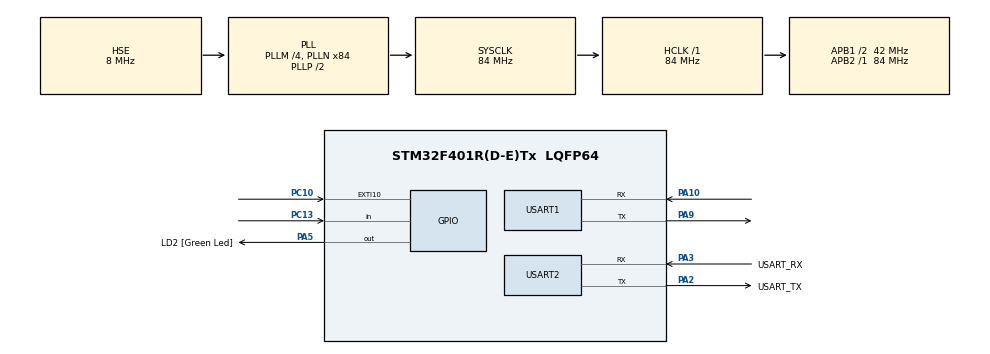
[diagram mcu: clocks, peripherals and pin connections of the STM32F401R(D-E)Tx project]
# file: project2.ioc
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Mcu.Family=STM32F4
Mcu.Name=STM32F401R(D-E)Tx
Mcu.Package=LQFP64
NVIC.EXTI15_10_IRQn=true\:15\:0\:true\:false\:true\:true\:true
NVIC.PriorityGroup=NVIC_PRIORITYGROUP_4
NVIC.USART2_IRQn=true\:15\:0\:true\:false\:true\:true\:true
PA10.GPIO_PuPd=GPIO_PULLUP
PA10.Mode=Asynchronous
PA10.Signal=USART1_RX
PA13.GPIO_Label=TMS
PA13.Mode=Serial_Wire
PA13.Signal=SYS_JTMS-SWDIO
PA14.GPIO_Label=TCK
PA14.Mode=Serial_Wire
PA14.Signal=SYS_JTCK-SWCLK
PA2.GPIO_Label=USART_TX
PA2.GPIO_Mode=GPIO_MODE_AF_PP
PA2.GPIO_PuPd=GPIO_NOPULL
PA2.GPIO_Speed=GPIO_SPEED_FREQ_LOW
PA2.Mode=Asynchronous
PA2.Signal=USART2_TX
PA3.GPIO_Label=USART_RX
PA3.GPIO_Mode=GPIO_MODE_AF_PP
PA3.GPIO_PuPd=GPIO_NOPULL
PA3.GPIO_Speed=GPIO_SPEED_FREQ_LOW
PA3.Mode=Asynchronous
PA3.Signal=USART2_RX
PA5.GPIO_Label=LD2 [Green Led]
PA5.GPIO_Mode=GPIO_MODE_OUTPUT_PP
PA5.GPIO_PuPd=GPIO_NOPULL
PA5.GPIO_Speed=GPIO_SPEED_FREQ_LOW
PA5.Signal=GPIO_Output
PA9.GPIO_PuPd=GPIO_PULLUP
PA9.Mode=Asynchronous
PA9.Signal=USART1_TX
PB3.GPIO_Label=SWO
PB3.Signal=SYS_JTDO-SWO
PC10.GPIO_ModeDefaultEXTI=GPIO_MODE_IT_FALLING
PC10.GPIO_PuPd=GPIO_PULLUP
PC10.Signal=GPXTI10
PC13-ANTI_TAMP.Signal=GPIO_Input
PC14-OSC32_IN.Mode=LSE-External-Oscillator
PC14-OSC32_IN.Signal=RCC_OSC32_IN
PC15-OSC32_OUT.Mode=LSE-External-Oscillator
PC15-OSC32_OUT.Signal=RCC_OSC32_OUT
PH0\ -\ OSC_IN.Mode=HSE-External-Clock-Source
PH0\ -\ OSC_IN.Signal=RCC_OSC_IN
PH1\ -\ OSC_OUT.Mode=HSE-External-Clock-Source
PH1\ -\ OSC_OUT.Signal=RCC_OSC_OUT
ProjectManager.HeapSize=0x200
ProjectManager.StackSize=0x400
ProjectManager.TargetToolchain=STM32CubeIDE
RCC.48MHZClocksFreq_Value=24000000
RCC.AHBFreq_Value=84000000
RCC.APB1CLKDivider=RCC_HCLK_DIV2
RCC.APB1Freq_Value=42000000
RCC.APB1TimFreq_Value=84000000
RCC.APB2Freq_Value=84000000
RCC.APB2TimFreq_Value=84000000
RCC.CortexFreq_Value=84000000
RCC.HCLKFreq_Value=84000000
RCC.HSE_VALUE=8000000
RCC.HSI_VALUE=16000000
RCC.PLLM=4
RCC.PLLN=84
RCC.PLLQ=7
RCC.PLLSourceVirtual=RCC_PLLSOURCE_HSE
RCC.SYSCLKFreq_VALUE=84000000
RCC.SYSCLKSource=RCC_SYSCLKSOURCE_PLLCLK
RCC.VCOOutputFreq_Value=168000000
USART1.VirtualMode=VM_ASYNC
USART2.VirtualMode=VM_ASYNC
VP_CRC_VS_CRC.Mode=CRC_Activate
board=NUCLEO-F401RE

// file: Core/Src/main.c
/* USER CODE BEGIN Header */
/**
  ******************************************************************************
  * @file           : main.c
  * @brief          : Main program body
  ******************************************************************************
  * @attention
  *
  * <h2><center>&copy; Copyright (c) 2021 STMicroelectronics.
  * All rights reserved.</center></h2>
  *
  * This software component is licensed by ST under BSD 3-Clause license,
  * the "License"; You may not use this file except in compliance with the
  * License. You may obtain a copy of the License at:
  *                        opensource.org/licenses/BSD-3-Clause
  *
  ******************************************************************************
  */
/* USER CODE END Header */
#include "main.h"

/* USER CODE BEGIN Includes */

#include "stdarg.h"
#include <stdlib.h>
#include <stdbool.h>
#include <stdio.h>
#include <string.h>
#include <signal.h>

#include "cs101_slave.h"

/* USER CODE END Includes */

CRC_HandleTypeDef hcrc;

UART_HandleTypeDef huart1;
UART_HandleTypeDef huart2;

/* USER CODE BEGIN PV */

//rtc

#define D_UART &huart2
#define C_UART &uart2
#define BL_DEBUG_MSG_EN
/* USER CODE END PV */

void SystemClock_Config(void);
static void MX_GPIO_Init(void);
static void MX_USART2_UART_Init(void);
static void MX_CRC_Init(void);
static void MX_USART1_UART_Init(void);

/* USER CODE BEGIN 0 */
char somedata[]="hello world \r";

/* Callback handler that is called when an interrogation command is received */
static bool
interrogationHandler(void* parameter, IMasterConnection connection, CS101_ASDU asdu, uint8_t qoi)
{
    printf("Received interrogation for group %i\n", qoi);

    if (qoi == 20) { /* only handle station interrogation */

        CS101_AppLayerParameters alParams = IMasterConnection_getApplicationLayerParameters(connection);

        IMasterConnection_sendACT_CON(connection, asdu, false);

        /* The CS101 specification only allows information objects without timestamp in GI responses */

        CS101_ASDU newAsdu = CS101_ASDU_create(alParams, false, CS101_COT_INTERROGATED_BY_STATION,
                0, 1, false, false);
//dòng này chỉ để tạo để lấy bộ nhớ thôi
        InformationObject io = (InformationObject) MeasuredValueScaled_create(NULL, 100, -1, IEC60870_QUALITY_GOOD);

        CS101_ASDU_addInformationObject(newAsdu, io);

        CS101_ASDU_addInformationObject(newAsdu, (InformationObject)
            MeasuredValueScaled_create((MeasuredValueScaled) io, 101, 23, IEC60870_QUALITY_GOOD));

        CS101_ASDU_addInformationObject(newAsdu, (InformationObject)
            MeasuredValueScaled_create((MeasuredValueScaled) io, 102, 2300, IEC60870_QUALITY_GOOD));

        InformationObject_destroy(io);

        IMasterConnection_sendASDU(connection, newAsdu);

        CS101_ASDU_destroy(newAsdu);

        newAsdu = CS101_ASDU_create(alParams, false, CS101_COT_INTERROGATED_BY_STATION,
                    0, 1, false, false);

        io = (InformationObject) SinglePointInformation_create(NULL, 104, true, IEC60870_QUALITY_GOOD);

        CS101_ASDU_addInformationObject(newAsdu, io);

        CS101_ASDU_addInformationObject(newAsdu, (InformationObject)
            SinglePointInformation_create((SinglePointInformation) io, 105, false, IEC60870_QUALITY_GOOD));

        InformationObject_destroy(io);

        IMasterConnection_sendASDU(connection, newAsdu);

        CS101_ASDU_destroy(newAsdu);

        newAsdu = CS101_ASDU_create(alParams, true, CS101_COT_INTERROGATED_BY_STATION,
                0, 1, false, false);

        CS101_ASDU_addInformationObject(newAsdu, io = (InformationObject) SinglePointInformation_create(NULL, 300, true, IEC60870_QUALITY_GOOD));
        CS101_ASDU_addInformationObject(newAsdu, (InformationObject) SinglePointInformation_create((SinglePointInformation) io, 301, false, IEC60870_QUALITY_GOOD));
        CS101_ASDU_addInformationObject(newAsdu, (InformationObject) SinglePointInformation_create((SinglePointInformation) io, 302, true, IEC60870_QUALITY_GOOD));
        CS101_ASDU_addInformationObject(newAsdu, (InformationObject) SinglePointInformation_create((SinglePointInformation) io, 303, false, IEC60870_QUALITY_GOOD));
        CS101_ASDU_addInformationObject(newAsdu, (InformationObject) SinglePointInformation_create((SinglePointInformation) io, 304, true, IEC60870_QUALITY_GOOD));
        CS101_ASDU_addInformationObject(newAsdu, (InformationObject) SinglePointInformation_create((SinglePointInformation) io, 305, false, IEC60870_QUALITY_GOOD));
        CS101_ASDU_addInformationObject(newAsdu, (InformationObject) SinglePointInformation_create((SinglePointInformation) io, 306, true, IEC60870_QUALITY_GOOD));
        CS101_ASDU_addInformationObject(newAsdu, (InformationObject) SinglePointInformation_create((SinglePointInformation) io, 307, false, IEC60870_QUALITY_GOOD));

        InformationObject_destroy(io);

        IMasterConnection_sendASDU(connection, newAsdu);

        CS101_ASDU_destroy(newAsdu);

        IMasterConnection_sendACT_TERM(connection, asdu);
    }
    else {
        IMasterConnection_sendACT_CON(connection, asdu, true);
    }

    return true;
}
static bool
asduHandler(void* parameter, IMasterConnection connection, CS101_ASDU asdu)
{
    if (CS101_ASDU_getTypeID(asdu) == C_SC_NA_1) {
        printf("received single command\n");

        if  (CS101_ASDU_getCOT(asdu) == CS101_COT_ACTIVATION) {
            InformationObject io = CS101_ASDU_getElement(asdu, 0);

            if (io) {
                if (InformationObject_getObjectAddress(io) == 5000) {
                    SingleCommand sc = (SingleCommand) io;

                    printf("IOA: %i switch to %i\n", InformationObject_getObjectAddress(io),
                            SingleCommand_getState(sc));

                    CS101_ASDU_setCOT(asdu, CS101_COT_ACTIVATION_CON);
                }
                else
                    CS101_ASDU_setCOT(asdu, CS101_COT_UNKNOWN_IOA);

                InformationObject_destroy(io);
            }
            else {
                printf("ERROR: ASDU contains no information object!\n");
                return true;
            }

        }
        else
            CS101_ASDU_setCOT(asdu, CS101_COT_UNKNOWN_COT);

        IMasterConnection_sendASDU(connection, asdu);

        return true;
    }

    return false;
}
/* USER CODE END 0 */

int main(void)
{

  /* MCU Configuration--------------------------------------------------------*/

  /* Reset of all peripherals, Initializes the Flash interface and the Systick. */
  HAL_Init();

  /* Configure the system clock */
  SystemClock_Config();

  /* USER CODE BEGIN SysInit */
//  __HAL_GPIO_EXTI_CLEAR_IT(GPIO_PIN_13);
//  RTC_Init();
//  RTC_CalendarConfig();
  /* USER CODE END SysInit */

  /* Initialize all configured peripherals */
  MX_GPIO_Init();
  MX_USART2_UART_Init();
  MX_CRC_Init();
  MX_USART1_UART_Init();
  /* USER CODE BEGIN 2 */
//
//
////  IMasterConnection connection;
////  CS101_AppLayerParameters alParams = IMasterConnection_getApplicationLayerParameters(connection);
//
////  const char* serialPort = "/dev/ttyUSB0";
////  SerialPort port = SerialPort_create(serialPort, 9600, 8, 'E', 1);
//  CS101_Slave slave = CS101_Slave_create(NULL, NULL, NULL, IEC60870_LINK_LAYER_UNBALANCED);
//
//  CS101_Slave_setLinkLayerAddress(slave, 1);
//  CS101_Slave_setLinkLayerAddressOtherStation(slave, 1);
//
//  /* get the application layer parameters - we need them to create correct ASDUs */
//  CS101_AppLayerParameters alParameters = CS101_Slave_getAppLayerParameters(slave);
//
//  /* change default application layer parameters (optional) */
//  alParameters->sizeOfCA = 2;
//  alParameters->sizeOfIOA = 3;
//  alParameters->sizeOfCOT = 2;
//  LinkLayerParameters llParameters = CS101_Slave_getLinkLayerParameters(slave);
//     llParameters->timeoutForAck = 500;
//     int16_t scaledValue = 0;
//
//     uint64_t lastMessageSent = 0;
////     CS101_Slave_run(slave);
//
//     CS101_ASDU newAsdu = CS101_ASDU_create(alParameters, false, CS101_COT_PERIODIC, 0, 1, false, false);
//
//       InformationObject io = (InformationObject) MeasuredValueScaled_create(NULL, 100, -1, IEC60870_QUALITY_GOOD);
//
//       //trong hàm này có hàm ghi giá trị
//       CS101_ASDU_addInformationObject(newAsdu, io);
//
//       CS101_ASDU_addInformationObject(newAsdu, (InformationObject)
//           MeasuredValueScaled_create((MeasuredValueScaled) io, 101, 21, IEC60870_QUALITY_GOOD));
//
//       CS101_ASDU_addInformationObject(newAsdu, (InformationObject)
//           MeasuredValueScaled_create((MeasuredValueScaled) io, 102, 900, IEC60870_QUALITY_OVERFLOW)); //2300
//
//     InformationObject_destroy(io);
//
//     CS101_Slave_enqueueUserDataClass2(slave, newAsdu);
//
//     CS101_ASDU_destroy(newAsdu);

  /////////////////////////////////////////////////////////////////////
  struct sCS101_AppLayerParameters huy;
  struct sCS101_AppLayerParameters *para =&huy;
//  CS101_AppLayerParameters para;
//  para = (CS101_AppLayerParameters)huy;
  para->sizeOfCA = 2;
  para->sizeOfIOA = 3;
  para->sizeOfCOT = 2;
  CS101_ASDU newAsdu = CS101_ASDU_create(para, false, CS101_COT_INTERROGATED_BY_STATION,
          0, 1, false, false);

//dòng này chỉ để tạo để lấy bộ nhớ thôi, trong hàm này tạo hàm nạp giá trị rồi
  InformationObject io = (InformationObject) MeasuredValueScaled_create(NULL, 100, -1, IEC60870_QUALITY_GOOD);

  //trong hàm này có hàm ghi giá trị
  CS101_ASDU_addInformationObject(newAsdu, io);

  CS101_ASDU_addInformationObject(newAsdu, (InformationObject)
      MeasuredValueScaled_create((MeasuredValueScaled) io, 101, 21, IEC60870_QUALITY_GOOD));

  CS101_ASDU_addInformationObject(newAsdu, (InformationObject)
      MeasuredValueScaled_create((MeasuredValueScaled) io, 102, 900, IEC60870_QUALITY_OVERFLOW)); //2300

  InformationObject_destroy(io);
//     CS101_Slave_enqueueUserDataClass2(slave, newAsdu);

  /* USER CODE END 2 */

  /* Infinite loop */
  while (1)
  {

  }
}

void SystemClock_Config(void)
{
  RCC_OscInitTypeDef RCC_OscInitStruct = {0};
  RCC_ClkInitTypeDef RCC_ClkInitStruct = {0};

  /** Configure the main internal regulator output voltage
  */
  __HAL_RCC_PWR_CLK_ENABLE();
  __HAL_PWR_VOLTAGESCALING_CONFIG(PWR_REGULATOR_VOLTAGE_SCALE2);
  /** Initializes the RCC Oscillators according to the specified parameters
  * in the RCC_OscInitTypeDef structure.
  */
  RCC_OscInitStruct.OscillatorType = RCC_OSCILLATORTYPE_HSE;
  RCC_OscInitStruct.HSEState = RCC_HSE_BYPASS;
  RCC_OscInitStruct.PLL.PLLState = RCC_PLL_ON;
  RCC_OscInitStruct.PLL.PLLSource = RCC_PLLSOURCE_HSE;
  RCC_OscInitStruct.PLL.PLLM = 4;
  RCC_OscInitStruct.PLL.PLLN = 84;
  RCC_OscInitStruct.PLL.PLLP = RCC_PLLP_DIV2;
  RCC_OscInitStruct.PLL.PLLQ = 7;
  if (HAL_RCC_OscConfig(&RCC_OscInitStruct) != HAL_OK)
  {
    Error_Handler();
  }
  /** Initializes the CPU, AHB and APB buses clocks
  */
  RCC_ClkInitStruct.ClockType = RCC_CLOCKTYPE_HCLK|RCC_CLOCKTYPE_SYSCLK
                              |RCC_CLOCKTYPE_PCLK1|RCC_CLOCKTYPE_PCLK2;
  RCC_ClkInitStruct.SYSCLKSource = RCC_SYSCLKSOURCE_PLLCLK;
  RCC_ClkInitStruct.AHBCLKDivider = RCC_SYSCLK_DIV1;
  RCC_ClkInitStruct.APB1CLKDivider = RCC_HCLK_DIV2;
  RCC_ClkInitStruct.APB2CLKDivider = RCC_HCLK_DIV1;

  if (HAL_RCC_ClockConfig(&RCC_ClkInitStruct, FLASH_LATENCY_2) != HAL_OK)
  {
    Error_Handler();
  }
}

static void MX_CRC_Init(void)
{

  hcrc.Instance = CRC;
  if (HAL_CRC_Init(&hcrc) != HAL_OK)
  {
    Error_Handler();
  }

}

static void MX_USART1_UART_Init(void)
{

  huart1.Instance = USART1;
  huart1.Init.BaudRate = 115200;
  huart1.Init.WordLength = UART_WORDLENGTH_8B;
  huart1.Init.StopBits = UART_STOPBITS_1;
  huart1.Init.Parity = UART_PARITY_NONE;
  huart1.Init.Mode = UART_MODE_TX_RX;
  huart1.Init.HwFlowCtl = UART_HWCONTROL_NONE;
  huart1.Init.OverSampling = UART_OVERSAMPLING_16;
  if (HAL_UART_Init(&huart1) != HAL_OK)
  {
    Error_Handler();
  }

}

static void MX_USART2_UART_Init(void)
{

  huart2.Instance = USART2;
  huart2.Init.BaudRate = 115200;
  huart2.Init.WordLength = UART_WORDLENGTH_8B;
  huart2.Init.StopBits = UART_STOPBITS_1;
  huart2.Init.Parity = UART_PARITY_NONE;
  huart2.Init.Mode = UART_MODE_TX_RX;
  huart2.Init.HwFlowCtl = UART_HWCONTROL_NONE;
  huart2.Init.OverSampling = UART_OVERSAMPLING_16;
  if (HAL_UART_Init(&huart2) != HAL_OK)
  {
    Error_Handler();
  }

}

static void MX_GPIO_Init(void)
{
  GPIO_InitTypeDef GPIO_InitStruct = {0};

  /* GPIO Ports Clock Enable */
  __HAL_RCC_GPIOC_CLK_ENABLE();
  __HAL_RCC_GPIOH_CLK_ENABLE();
  __HAL_RCC_GPIOA_CLK_ENABLE();
  __HAL_RCC_GPIOB_CLK_ENABLE();

  /*Configure GPIO pin Output Level */
  HAL_GPIO_WritePin(LD2_GPIO_Port, LD2_Pin, GPIO_PIN_RESET);

  /*Configure GPIO pin : PC13 */
  GPIO_InitStruct.Pin = GPIO_PIN_13;
  GPIO_InitStruct.Mode = GPIO_MODE_INPUT;
  GPIO_InitStruct.Pull = GPIO_NOPULL;
  HAL_GPIO_Init(GPIOC, &GPIO_InitStruct);

  /*Configure GPIO pin : LD2_Pin */
  GPIO_InitStruct.Pin = LD2_Pin;
  GPIO_InitStruct.Mode = GPIO_MODE_OUTPUT_PP;
  GPIO_InitStruct.Pull = GPIO_NOPULL;
  GPIO_InitStruct.Speed = GPIO_SPEED_FREQ_LOW;
  HAL_GPIO_Init(LD2_GPIO_Port, &GPIO_InitStruct);

  /*Configure GPIO pin : PC10 */
  GPIO_InitStruct.Pin = GPIO_PIN_10;
  GPIO_InitStruct.Mode = GPIO_MODE_IT_FALLING;
  GPIO_InitStruct.Pull = GPIO_PULLUP;
  HAL_GPIO_Init(GPIOC, &GPIO_InitStruct);

  /* EXTI interrupt init*/
  HAL_NVIC_SetPriority(EXTI15_10_IRQn, 15, 0);
  HAL_NVIC_EnableIRQ(EXTI15_10_IRQn);

}

/* USER CODE BEGIN 4 */

void printmsg(char *format,...)
 {
#ifdef BL_DEBUG_MSG_EN
	char str[80];

	/*Extract the the argument list using VA apis */
	va_list args;
	va_start(args, format);
	vsprintf(str, format,args);
	HAL_UART_Transmit(D_UART,(uint8_t *)str, strlen(str),HAL_MAX_DELAY);
	va_end(args);
#endif
 }

void HAL_GPIO_EXTI_Callback(uint16_t GPIO_Pin)
{
//	RTC_GetTime_GetDate();
//	HAL_GPIO_TogglePin(GPIOA, GPIO_PIN_5);
	// cộng 1 phút
//	HAL_GPIO_WritePin(GPIOA, GPIO_PIN_5,GPIO_PIN_SET );
	RTC_ReConfig();
//	HAL_RTC_DST_Add1Hour(&hrtc);
//	HAL_RTC_DeInit(&hrtc);

}

void HAL_TIM_PeriodElapsedCallback(TIM_HandleTypeDef *htim)
{
	RTC_GetTime_GetDate();

}

/* USER CODE END 4 */

void Error_Handler(void)
{
  __disable_irq();
  while (1)
  {
  }
}

/************************ (C) COPYRIGHT STMicroelectronics *****END OF FILE****/
